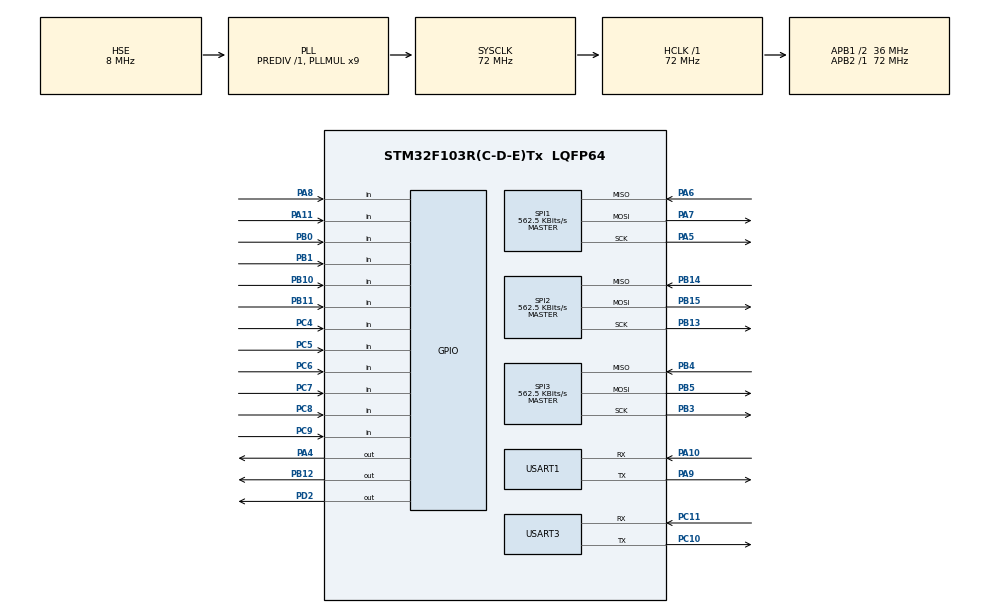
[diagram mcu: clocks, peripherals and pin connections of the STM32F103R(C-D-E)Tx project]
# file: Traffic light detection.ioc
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Dma.Request0=USART1_RX
Dma.Request1=USART1_TX
Dma.USART1_RX.0.Direction=DMA_PERIPH_TO_MEMORY
Dma.USART1_RX.0.Instance=DMA1_Channel5
Dma.USART1_RX.0.MemDataAlignment=DMA_MDATAALIGN_BYTE
Dma.USART1_RX.0.MemInc=DMA_MINC_ENABLE
Dma.USART1_RX.0.Mode=DMA_NORMAL
Dma.USART1_RX.0.PeriphDataAlignment=DMA_PDATAALIGN_BYTE
Dma.USART1_RX.0.PeriphInc=DMA_PINC_DISABLE
Dma.USART1_RX.0.Priority=DMA_PRIORITY_MEDIUM
Dma.USART1_TX.1.Direction=DMA_MEMORY_TO_PERIPH
Dma.USART1_TX.1.Instance=DMA1_Channel4
Dma.USART1_TX.1.MemDataAlignment=DMA_MDATAALIGN_BYTE
Dma.USART1_TX.1.MemInc=DMA_MINC_ENABLE
Dma.USART1_TX.1.Mode=DMA_NORMAL
Dma.USART1_TX.1.PeriphDataAlignment=DMA_PDATAALIGN_BYTE
Dma.USART1_TX.1.PeriphInc=DMA_PINC_DISABLE
Dma.USART1_TX.1.Priority=DMA_PRIORITY_MEDIUM
Mcu.Family=STM32F1
Mcu.Name=STM32F103R(C-D-E)Tx
Mcu.Package=LQFP64
NVIC.DMA1_Channel4_IRQn=true\:0\:0\:false\:false\:true\:false\:true
NVIC.DMA1_Channel5_IRQn=true\:0\:0\:false\:false\:true\:false\:true
NVIC.PriorityGroup=NVIC_PRIORITYGROUP_2
NVIC.TIM1_UP_IRQn=true\:1\:1\:true\:false\:true\:true\:true
NVIC.TIM2_IRQn=true\:1\:0\:true\:false\:true\:true\:true
NVIC.USART1_IRQn=true\:1\:1\:true\:false\:true\:true\:true
PA10.Mode=Asynchronous
PA10.Signal=USART1_RX
PA11.Signal=GPIO_Input
PA13.Mode=Serial_Wire
PA13.Signal=SYS_JTMS-SWDIO
PA14.Mode=Serial_Wire
PA14.Signal=SYS_JTCK-SWCLK
PA4.Signal=GPIO_Output
PA5.Mode=Full_Duplex_Master
PA5.Signal=SPI1_SCK
PA6.Mode=Full_Duplex_Master
PA6.Signal=SPI1_MISO
PA7.Mode=Full_Duplex_Master
PA7.Signal=SPI1_MOSI
PA8.Signal=GPIO_Input
PA9.Mode=Asynchronous
PA9.Signal=USART1_TX
PB0.Signal=GPIO_Input
PB1.Signal=GPIO_Input
PB10.Signal=GPIO_Input
PB11.Signal=GPIO_Input
PB12.Signal=GPIO_Output
PB13.Mode=Full_Duplex_Master
PB13.Signal=SPI2_SCK
PB14.Mode=Full_Duplex_Master
PB14.Signal=SPI2_MISO
PB15.Mode=Full_Duplex_Master
PB15.Signal=SPI2_MOSI
PB3.Mode=Full_Duplex_Master
PB3.Signal=SPI3_SCK
PB4.Mode=Full_Duplex_Master
PB4.Signal=SPI3_MISO
PB5.Mode=Full_Duplex_Master
PB5.Signal=SPI3_MOSI
PC10.Mode=Asynchronous
PC10.Signal=USART3_TX
PC11.Mode=Asynchronous
PC11.Signal=USART3_RX
PC4.Signal=GPIO_Input
PC5.Signal=GPIO_Input
PC6.Signal=GPIO_Input
PC7.Signal=GPIO_Input
PC8.Signal=GPIO_Input
PC9.Signal=GPIO_Input
PD0-OSC_IN.Mode=HSE-External-Oscillator
PD0-OSC_IN.Signal=RCC_OSC_IN
PD1-OSC_OUT.Mode=HSE-External-Oscillator
PD1-OSC_OUT.Signal=RCC_OSC_OUT
PD2.Signal=GPIO_Output
ProjectManager.HeapSize=0x200
ProjectManager.StackSize=0x400
ProjectManager.TargetToolchain=MDK-ARM V5.27
RCC.AHBFreq_Value=72000000
RCC.APB1CLKDivider=RCC_HCLK_DIV2
RCC.APB1Freq_Value=36000000
RCC.APB1TimFreq_Value=72000000
RCC.APB2Freq_Value=72000000
RCC.APB2TimFreq_Value=72000000
RCC.HCLKFreq_Value=72000000
RCC.PLLMUL=RCC_PLL_MUL9
RCC.PLLSourceVirtual=RCC_PLLSOURCE_HSE
RCC.SYSCLKFreq_VALUE=72000000
RCC.SYSCLKSource=RCC_SYSCLKSOURCE_PLLCLK
RCC.USBFreq_Value=72000000
SPI1.BaudRatePrescaler=SPI_BAUDRATEPRESCALER_128
SPI1.CLKPhase=SPI_PHASE_2EDGE
SPI1.CalculateBaudRate=562.5 KBits/s
SPI1.Direction=SPI_DIRECTION_2LINES
SPI1.Mode=SPI_MODE_MASTER
SPI1.VirtualType=VM_MASTER
SPI2.BaudRatePrescaler=SPI_BAUDRATEPRESCALER_64
SPI2.CLKPhase=SPI_PHASE_2EDGE
SPI2.CalculateBaudRate=562.5 KBits/s
SPI2.Direction=SPI_DIRECTION_2LINES
SPI2.Mode=SPI_MODE_MASTER
SPI2.VirtualType=VM_MASTER
SPI3.BaudRatePrescaler=SPI_BAUDRATEPRESCALER_64
SPI3.CLKPhase=SPI_PHASE_2EDGE
SPI3.CalculateBaudRate=562.5 KBits/s
SPI3.Direction=SPI_DIRECTION_2LINES
SPI3.Mode=SPI_MODE_MASTER
SPI3.VirtualType=VM_MASTER
TIM1.Period=1000-1
TIM1.Prescaler=72-1
TIM2.Period=999
TIM2.Prescaler=71
USART1.VirtualMode=VM_ASYNC
USART3.VirtualMode=VM_ASYNC
VP_TIM1_VS_ClockSourceINT.Mode=Internal
VP_TIM2_VS_ClockSourceINT.Mode=Internal
board=custom

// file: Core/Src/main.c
/* USER CODE BEGIN Header */
/**
  ******************************************************************************
  * @file           : main.c
  * @brief          : Main program body
  ******************************************************************************
  * @attention
  *
  * <h2><center>&copy; Copyright (c) 2026 STMicroelectronics.
  * All rights reserved.</center></h2>
  *
  * This software component is licensed by ST under BSD 3-Clause license,
  * the "License"; You may not use this file except in compliance with the
  * License. You may obtain a copy of the License at:
  *                        opensource.org/licenses/BSD-3-Clause
  *
  ******************************************************************************
  */
/* USER CODE END Header */
#include "main.h"
#include "dma.h"
#include "spi.h"
#include "tim.h"
#include "usart.h"
#include "gpio.h"

/* USER CODE BEGIN Includes */

#include <stdio.h>
#include "BL0910.h"
#include "BL0910_2.h"
#include "BL0906.h"
#include "pack.h"

/* USER CODE END Includes */

void SystemClock_Config(void);

/* USER CODE BEGIN 0 */

uint8_t Usart1Rx[10];
uint8_t SPI1_tx[2] = {0x82,0x69};
uint8_t SPI1_rx[4] = {0};

uint8_t seng_state = 0;
uint8_t seng_state1 = 0;

uint8_t  send_buffer[256] = {0};
uint8_t  cmd = 0xA1;
uint32_t buffer_len = 0;

data_collection_t sg_datacollec_t;

int fputc(int ch, FILE *p)
{
	while(!(USART3->SR & (1<<7)));

	USART3->DR = ch;

	return ch;
}

/* USER CODE END 0 */

int main(void)
{
  /* USER CODE BEGIN 1 */

  uint8_t index = 0;

  /* USER CODE END 1 */

  /* MCU Configuration--------------------------------------------------------*/

  /* Reset of all peripherals, Initializes the Flash interface and the Systick. */
  HAL_Init();

  /* Configure the system clock */
  SystemClock_Config();

  /* Initialize all configured peripherals */
  MX_GPIO_Init();
  MX_DMA_Init();
  MX_SPI1_Init();
  MX_SPI2_Init();
  MX_SPI3_Init();
  MX_USART1_UART_Init();
  MX_USART3_UART_Init();
  MX_TIM2_Init();
  MX_TIM1_Init();
  /* USER CODE BEGIN 2 */

//	__HAL_UART_ENABLE_IT(&huart1,UART_IT_IDLE);
//	__HAL_UART_CLEAR_IDLEFLAG(&huart1);
//	HAL_UART_Receive_DMA(&huart1,Usart1Rx,10);

  HAL_TIM_Base_Start_IT(&htim2);
	HAL_TIM_Base_Start_IT(&htim1);

  HAL_UARTEx_ReceiveToIdle_DMA(&huart1, Usart1Rx, 20);

	HAL_GPIO_WritePin(GPIOA, GPIO_PIN_4, GPIO_PIN_RESET);
	HAL_GPIO_WritePin(GPIOB, GPIO_PIN_12, GPIO_PIN_RESET);
	HAL_GPIO_WritePin(GPIOD, GPIO_PIN_2, GPIO_PIN_RESET);

	bl0910_init_function();
//	bl0910_test();
	bl0910_2_init_function();
//	bl0910_2_test();

	bl0906_init_function();
//	bl0906_test();

  /* USER CODE END 2 */

  /* Infinite loop */
  while (1)
  {

    /* USER CODE BEGIN 3 */

		HAL_Delay(10);

//		HAL_SPI_Transmit(&hspi1, SPI1_tx, 2, HAL_MAX_DELAY);
//		HAL_SPI_Receive(&hspi1, SPI1_rx, 4, HAL_MAX_DELAY);

		bl0910_work_process_function();
		bl0910_2_work_process_function();
		bl0906_work_process_function();

//		voltage_sensor();

		if(seng_state == 1)
		{
			buffer_len = pack_data(cmd,&sg_datacollec_t,send_buffer);

			HAL_UART_Transmit(&huart1, send_buffer, buffer_len, 1000);
			seng_state = 0;
		}
		if(seng_state1 == 1)
		{
			if(index == 0)
			{
				buffer_len = pack_data(cmd,&sg_datacollec_t,send_buffer);
				HAL_UART_Transmit(&huart1, send_buffer, buffer_len, 1000);
			}
			index++;
			if(index >= 50)
			{
				index = 0;
				seng_state1 = 0;
				for (int i = 0; i < 12; i++)
				{
					sg_datacollec_t.pulse[i] = 0;
				}
			}
		}
  }
  /* USER CODE END 3 */
}

void SystemClock_Config(void)
{
  RCC_OscInitTypeDef RCC_OscInitStruct = {0};
  RCC_ClkInitTypeDef RCC_ClkInitStruct = {0};

  /** Initializes the RCC Oscillators according to the specified parameters
  * in the RCC_OscInitTypeDef structure.
  */
  RCC_OscInitStruct.OscillatorType = RCC_OSCILLATORTYPE_HSE;
  RCC_OscInitStruct.HSEState = RCC_HSE_ON;
  RCC_OscInitStruct.HSEPredivValue = RCC_HSE_PREDIV_DIV1;
  RCC_OscInitStruct.HSIState = RCC_HSI_ON;
  RCC_OscInitStruct.PLL.PLLState = RCC_PLL_ON;
  RCC_OscInitStruct.PLL.PLLSource = RCC_PLLSOURCE_HSE;
  RCC_OscInitStruct.PLL.PLLMUL = RCC_PLL_MUL9;
  if (HAL_RCC_OscConfig(&RCC_OscInitStruct) != HAL_OK)
  {
    Error_Handler();
  }
  /** Initializes the CPU, AHB and APB buses clocks
  */
  RCC_ClkInitStruct.ClockType = RCC_CLOCKTYPE_HCLK|RCC_CLOCKTYPE_SYSCLK
                              |RCC_CLOCKTYPE_PCLK1|RCC_CLOCKTYPE_PCLK2;
  RCC_ClkInitStruct.SYSCLKSource = RCC_SYSCLKSOURCE_PLLCLK;
  RCC_ClkInitStruct.AHBCLKDivider = RCC_SYSCLK_DIV1;
  RCC_ClkInitStruct.APB1CLKDivider = RCC_HCLK_DIV2;
  RCC_ClkInitStruct.APB2CLKDivider = RCC_HCLK_DIV1;

  if (HAL_RCC_ClockConfig(&RCC_ClkInitStruct, FLASH_LATENCY_2) != HAL_OK)
  {
    Error_Handler();
  }
}

/* USER CODE BEGIN 4 */

/************************************************************
*
* Function name	: det_set_total_energy
* Description	: 电能计量参数
* Parameter		:
* Return		:
*
************************************************************/
void det_set_total_energy(uint8_t num,float data)
{
	switch(num)
	{
		case 1: sg_datacollec_t.current[0] = data / CURR_KP - 0.5f; 		break;
		case 2: sg_datacollec_t.current[1] = data / CURR_KP - 0.5f; 		break;
		case 3: sg_datacollec_t.current[2] = data / CURR_KP - 0.4f; 		break;
		case 4: sg_datacollec_t.current[3] = data / CURR_KP - 0.5f; 		break;
		case 5: sg_datacollec_t.current[4] = data / CURR_KP - 0.5f; 		break;
		case 6: sg_datacollec_t.current[5] = data / CURR_KP - 0.5f; 		break;
		case 7: sg_datacollec_t.current[6] = data / CURR_KP - 0.4f; 		break;
		case 8: sg_datacollec_t.current[7] = data / CURR_KP - 0.5f; 		break;
		case 9: sg_datacollec_t.current[8] = data / CURR_KP - 0.5f; 		break;
		case 10: sg_datacollec_t.current[9] = data / CURR_KP - 0.5f; 		break;
		case 11: sg_datacollec_t.current[10] = data / CURR_KP - 0.4f; 		break;
		case 12: sg_datacollec_t.current[11] = data / CURR_KP - 0.5f; 		break;
		case 13: sg_datacollec_t.current[12] = data / CURR_KP - 0.5f; 		break;
		case 14: sg_datacollec_t.current[13] = data / CURR_KP - 0.5f; 		break;
		case 15: sg_datacollec_t.current[14] = data / CURR_KP - 0.4f; 		break;
		case 16: sg_datacollec_t.current[15] = data / CURR_KP - 0.5f; 		break;
		case 17: sg_datacollec_t.current[16] = data / CURR_KP - 0.5f; 		break;
		case 18: sg_datacollec_t.current[17] = data / CURR_KP - 0.5f; 		break;
		case 19: sg_datacollec_t.current[18] = data / CURR_KP - 0.4f; 		break;
		case 20: sg_datacollec_t.current[19] = data / CURR_KP - 0.5f; 		break;
		case 21: sg_datacollec_t.current[20] = data / CURR_KP - 0.5f; 		break;
		case 22: sg_datacollec_t.current[21] = data / CURR_KP - 0.5f; 		break;
		case 23: sg_datacollec_t.current[22] = data / CURR_KP - 0.4f; 		break;
		case 24: sg_datacollec_t.current[23] = data / CURR_KP - 0.5f; 		break;

  }
}

/* USER CODE END 4 */

void Error_Handler(void)
{
  __disable_irq();
  while (1)
  {
  }
}

/************************ (C) COPYRIGHT STMicroelectronics *****END OF FILE****/
